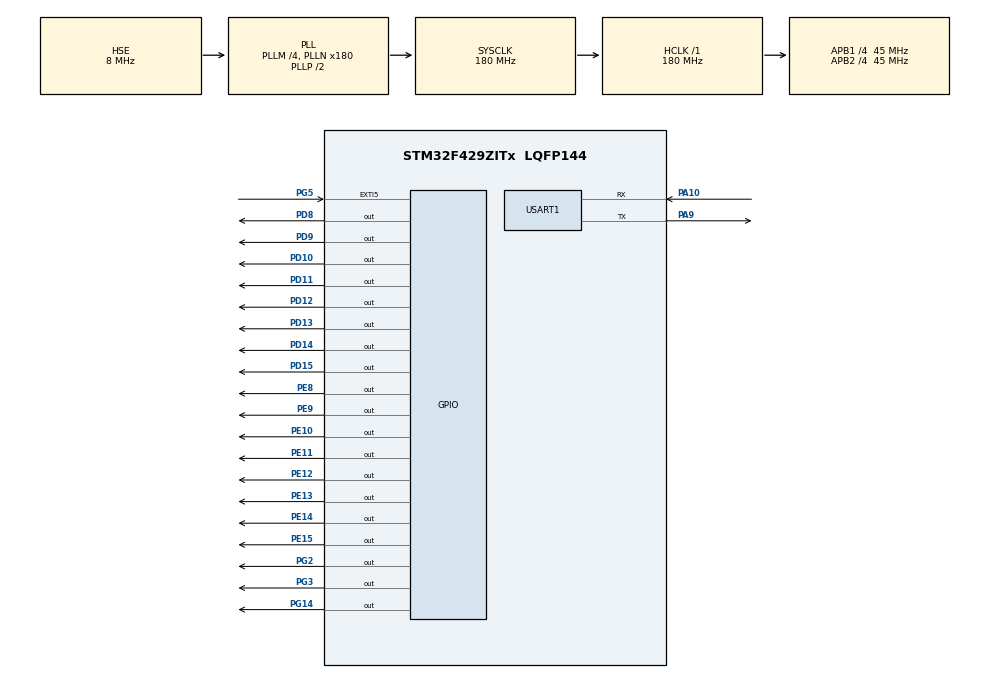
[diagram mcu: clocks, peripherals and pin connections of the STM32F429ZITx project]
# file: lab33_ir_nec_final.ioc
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Mcu.Family=STM32F4
Mcu.Name=STM32F429ZITx
Mcu.Package=LQFP144
NVIC.EXTI9_5_IRQn=true\:0\:0\:false\:false\:true\:true\:true\:true
NVIC.PriorityGroup=NVIC_PRIORITYGROUP_4
PA10.Mode=Asynchronous
PA10.Signal=USART1_RX
PA9.Mode=Asynchronous
PA9.Signal=USART1_TX
PD10.Signal=GPIO_Output
PD11.Signal=GPIO_Output
PD12.Signal=GPIO_Output
PD13.Signal=GPIO_Output
PD14.Signal=GPIO_Output
PD15.Signal=GPIO_Output
PD8.Signal=GPIO_Output
PD9.Signal=GPIO_Output
PE10.Signal=GPIO_Output
PE11.Signal=GPIO_Output
PE12.Signal=GPIO_Output
PE13.Signal=GPIO_Output
PE14.Signal=GPIO_Output
PE15.Signal=GPIO_Output
PE8.Signal=GPIO_Output
PE9.Signal=GPIO_Output
PG14.Signal=GPIO_Output
PG2.Signal=GPIO_Output
PG3.Signal=GPIO_Output
PG5.GPIO_ModeDefaultEXTI=GPIO_MODE_IT_FALLING
PG5.Signal=GPXTI5
PH0/OSC_IN.Mode=HSE-External-Oscillator
PH0/OSC_IN.Signal=RCC_OSC_IN
PH1/OSC_OUT.Mode=HSE-External-Oscillator
PH1/OSC_OUT.Signal=RCC_OSC_OUT
ProjectManager.HeapSize=0x200
ProjectManager.StackSize=0x400
ProjectManager.TargetToolchain=STM32CubeIDE
RCC.48MHZClocksFreq_Value=90000000
RCC.AHBFreq_Value=180000000
RCC.APB1CLKDivider=RCC_HCLK_DIV4
RCC.APB1Freq_Value=45000000
RCC.APB1TimFreq_Value=90000000
RCC.APB2CLKDivider=RCC_HCLK_DIV4
RCC.APB2Freq_Value=45000000
RCC.APB2TimFreq_Value=90000000
RCC.CortexFreq_Value=180000000
RCC.HCLKFreq_Value=180000000
RCC.HSE_VALUE=8000000
RCC.HSI_VALUE=16000000
RCC.LSE_VALUE=32768
RCC.PLLM=4
RCC.PLLN=180
RCC.PLLSourceVirtual=RCC_PLLSOURCE_HSE
RCC.SYSCLKFreq_VALUE=180000000
RCC.SYSCLKSource=RCC_SYSCLKSOURCE_PLLCLK
RCC.VCOOutputFreq_Value=360000000
TIM2.Prescaler=89
USART1.VirtualMode=VM_ASYNC
VP_TIM2_VS_ClockSourceINT.Mode=Internal
board=custom

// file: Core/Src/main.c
/* USER CODE BEGIN Header */
/**
  ******************************************************************************
  * @file           : main.c
  * @brief          : Main program body
  ******************************************************************************
  * @attention
  *
  * Copyright (c) 2026 STMicroelectronics.
  * All rights reserved.
  *
  * This software is licensed under terms that can be found in the LICENSE file
  * in the root directory of this software component.
  * If no LICENSE file comes with this software, it is provided AS-IS.
  *
  ******************************************************************************
  */
/* USER CODE END Header */
#include "main.h"

/* USER CODE BEGIN Includes */
#include "7seg.h"
#include "ledbar.h"
#include "ir_nec.h"
#include <stdio.h>
#include <string.h>
/* USER CODE END Includes */

/* USER CODE BEGIN PD */
/* Mã thật sẽ điền sau khi đọc từ Hercules */
#define IR_CMD_OK    0x1C
#define IR_CMD_1     0x45
#define IR_CMD_2     0x46
#define IR_CMD_3     0x47
#define IR_CMD_4     0x44
/* USER CODE END PD */

TIM_HandleTypeDef htim2;

UART_HandleTypeDef huart1;

/* USER CODE BEGIN PV */
uint32_t app_last_ledbar_tick = 0;
uint8_t app_last_command = 0x00;
/* USER CODE END PV */

void SystemClock_Config(void);
static void MX_GPIO_Init(void);
static void MX_TIM2_Init(void);
static void MX_USART1_UART_Init(void);
/* USER CODE BEGIN PFP */
void Debug_Print(const char *msg);
void ProcessIRFrame(void);
/* USER CODE END PFP */

/* USER CODE BEGIN 0 */
void Debug_Print(const char *msg)
{
  HAL_UART_Transmit(&huart1, (uint8_t *)msg, strlen(msg), 100);
}

void ProcessIRFrame(void)
{
  IR_NEC_Frame_t frame;
  char msg[64];

  frame = IR_NEC_GetFrame();

  if (!frame.ready)
  {
    return;
  }

  /* Hiển thị byte command lên 2 LED 7 thanh dưới dạng HEX */
  app_last_command = frame.command;
  Set7SegHexByte(app_last_command);

  /* Gửi debug ra Hercules */
  snprintf(msg, sizeof(msg),
           "RAW=%08lX ADDR=%02X CMD=%02X\r\n",
           frame.raw32,
           frame.address,
           frame.command);
  Debug_Print(msg);

  /* Xử lý chức năng theo nút */
  if (frame.command == IR_CMD_OK)
  {
    HAL_GPIO_TogglePin(GPIOG, GPIO_PIN_14);   // LED4
  }
  else if (frame.command == IR_CMD_1)
  {
    LEDBar_SetMode(LEDBAR_MODE_RUN_L);
  }
  else if (frame.command == IR_CMD_2)
  {
    LEDBar_SetMode(LEDBAR_MODE_RUN_R);
  }
  else if (frame.command == IR_CMD_3)
  {
    LEDBar_SetMode(LEDBAR_MODE_FLASH);
  }
  else if (frame.command == IR_CMD_4)
  {
    LEDBar_SetMode(LEDBAR_MODE_SPOT_BUMPER);
  }

  IR_NEC_ClearFrame();
}

/* USER CODE END 0 */

int main(void)
{

  /* MCU Configuration--------------------------------------------------------*/

  /* Reset of all peripherals, Initializes the Flash interface and the Systick. */
  HAL_Init();

  /* Configure the system clock */
  SystemClock_Config();

  /* Initialize all configured peripherals */
  MX_GPIO_Init();
  MX_TIM2_Init();
  MX_USART1_UART_Init();
  /* USER CODE BEGIN 2 */
  HAL_TIM_Base_Start(&htim2);

  IR_NEC_Init(&htim2);

  LEDBar_SetMode(LEDBAR_MODE_RUN_L);

  app_last_command = 0x00;
  Set7SegHexByte(app_last_command);

  Debug_Print("IR NEC demo start\r\n");
  /* USER CODE END 2 */

  /* Infinite loop */
  while (1)
  {

    /* USER CODE BEGIN 3 */
	Run7SegDisplay();

	if (HAL_GetTick() - app_last_ledbar_tick >= 200)
	{
	  app_last_ledbar_tick = HAL_GetTick();
	  LEDBar_RunStep();
	}

	ProcessIRFrame();
  }
  /* USER CODE END 3 */
}

void SystemClock_Config(void)
{
  RCC_OscInitTypeDef RCC_OscInitStruct = {0};
  RCC_ClkInitTypeDef RCC_ClkInitStruct = {0};

  /** Configure the main internal regulator output voltage
  */
  __HAL_RCC_PWR_CLK_ENABLE();
  __HAL_PWR_VOLTAGESCALING_CONFIG(PWR_REGULATOR_VOLTAGE_SCALE1);

  /** Initializes the RCC Oscillators according to the specified parameters
  * in the RCC_OscInitTypeDef structure.
  */
  RCC_OscInitStruct.OscillatorType = RCC_OSCILLATORTYPE_HSE;
  RCC_OscInitStruct.HSEState = RCC_HSE_ON;
  RCC_OscInitStruct.PLL.PLLState = RCC_PLL_ON;
  RCC_OscInitStruct.PLL.PLLSource = RCC_PLLSOURCE_HSE;
  RCC_OscInitStruct.PLL.PLLM = 4;
  RCC_OscInitStruct.PLL.PLLN = 180;
  RCC_OscInitStruct.PLL.PLLP = RCC_PLLP_DIV2;
  RCC_OscInitStruct.PLL.PLLQ = 4;
  if (HAL_RCC_OscConfig(&RCC_OscInitStruct) != HAL_OK)
  {
    Error_Handler();
  }

  /** Activate the Over-Drive mode
  */
  if (HAL_PWREx_EnableOverDrive() != HAL_OK)
  {
    Error_Handler();
  }

  /** Initializes the CPU, AHB and APB buses clocks
  */
  RCC_ClkInitStruct.ClockType = RCC_CLOCKTYPE_HCLK|RCC_CLOCKTYPE_SYSCLK
                              |RCC_CLOCKTYPE_PCLK1|RCC_CLOCKTYPE_PCLK2;
  RCC_ClkInitStruct.SYSCLKSource = RCC_SYSCLKSOURCE_PLLCLK;
  RCC_ClkInitStruct.AHBCLKDivider = RCC_SYSCLK_DIV1;
  RCC_ClkInitStruct.APB1CLKDivider = RCC_HCLK_DIV4;
  RCC_ClkInitStruct.APB2CLKDivider = RCC_HCLK_DIV4;

  if (HAL_RCC_ClockConfig(&RCC_ClkInitStruct, FLASH_LATENCY_5) != HAL_OK)
  {
    Error_Handler();
  }
}

static void MX_TIM2_Init(void)
{

  TIM_ClockConfigTypeDef sClockSourceConfig = {0};
  TIM_MasterConfigTypeDef sMasterConfig = {0};

  htim2.Instance = TIM2;
  htim2.Init.Prescaler = 89;
  htim2.Init.CounterMode = TIM_COUNTERMODE_UP;
  htim2.Init.Period = 4294967295;
  htim2.Init.ClockDivision = TIM_CLOCKDIVISION_DIV1;
  htim2.Init.AutoReloadPreload = TIM_AUTORELOAD_PRELOAD_DISABLE;
  if (HAL_TIM_Base_Init(&htim2) != HAL_OK)
  {
    Error_Handler();
  }
  sClockSourceConfig.ClockSource = TIM_CLOCKSOURCE_INTERNAL;
  if (HAL_TIM_ConfigClockSource(&htim2, &sClockSourceConfig) != HAL_OK)
  {
    Error_Handler();
  }
  sMasterConfig.MasterOutputTrigger = TIM_TRGO_RESET;
  sMasterConfig.MasterSlaveMode = TIM_MASTERSLAVEMODE_DISABLE;
  if (HAL_TIMEx_MasterConfigSynchronization(&htim2, &sMasterConfig) != HAL_OK)
  {
    Error_Handler();
  }

}

static void MX_USART1_UART_Init(void)
{

  huart1.Instance = USART1;
  huart1.Init.BaudRate = 115200;
  huart1.Init.WordLength = UART_WORDLENGTH_8B;
  huart1.Init.StopBits = UART_STOPBITS_1;
  huart1.Init.Parity = UART_PARITY_NONE;
  huart1.Init.Mode = UART_MODE_TX_RX;
  huart1.Init.HwFlowCtl = UART_HWCONTROL_NONE;
  huart1.Init.OverSampling = UART_OVERSAMPLING_16;
  if (HAL_UART_Init(&huart1) != HAL_OK)
  {
    Error_Handler();
  }

}

static void MX_GPIO_Init(void)
{
  GPIO_InitTypeDef GPIO_InitStruct = {0};

  /* GPIO Ports Clock Enable */
  __HAL_RCC_GPIOH_CLK_ENABLE();
  __HAL_RCC_GPIOE_CLK_ENABLE();
  __HAL_RCC_GPIOD_CLK_ENABLE();
  __HAL_RCC_GPIOG_CLK_ENABLE();
  __HAL_RCC_GPIOA_CLK_ENABLE();

  /*Configure GPIO pin Output Level */
  HAL_GPIO_WritePin(GPIOE, GPIO_PIN_8|GPIO_PIN_9|GPIO_PIN_10|GPIO_PIN_11
                          |GPIO_PIN_12|GPIO_PIN_13|GPIO_PIN_14|GPIO_PIN_15, GPIO_PIN_RESET);

  /*Configure GPIO pin Output Level */
  HAL_GPIO_WritePin(GPIOD, GPIO_PIN_8|GPIO_PIN_9|GPIO_PIN_10|GPIO_PIN_11
                          |GPIO_PIN_12|GPIO_PIN_13|GPIO_PIN_14|GPIO_PIN_15, GPIO_PIN_RESET);

  /*Configure GPIO pin Output Level */
  HAL_GPIO_WritePin(GPIOG, GPIO_PIN_2|GPIO_PIN_3|GPIO_PIN_14, GPIO_PIN_RESET);

  /*Configure GPIO pins : PE8 PE9 PE10 PE11
                           PE12 PE13 PE14 PE15 */
  GPIO_InitStruct.Pin = GPIO_PIN_8|GPIO_PIN_9|GPIO_PIN_10|GPIO_PIN_11
                          |GPIO_PIN_12|GPIO_PIN_13|GPIO_PIN_14|GPIO_PIN_15;
  GPIO_InitStruct.Mode = GPIO_MODE_OUTPUT_PP;
  GPIO_InitStruct.Pull = GPIO_NOPULL;
  GPIO_InitStruct.Speed = GPIO_SPEED_FREQ_LOW;
  HAL_GPIO_Init(GPIOE, &GPIO_InitStruct);

  /*Configure GPIO pins : PD8 PD9 PD10 PD11
                           PD12 PD13 PD14 PD15 */
  GPIO_InitStruct.Pin = GPIO_PIN_8|GPIO_PIN_9|GPIO_PIN_10|GPIO_PIN_11
                          |GPIO_PIN_12|GPIO_PIN_13|GPIO_PIN_14|GPIO_PIN_15;
  GPIO_InitStruct.Mode = GPIO_MODE_OUTPUT_PP;
  GPIO_InitStruct.Pull = GPIO_NOPULL;
  GPIO_InitStruct.Speed = GPIO_SPEED_FREQ_LOW;
  HAL_GPIO_Init(GPIOD, &GPIO_InitStruct);

  /*Configure GPIO pins : PG2 PG3 PG14 */
  GPIO_InitStruct.Pin = GPIO_PIN_2|GPIO_PIN_3|GPIO_PIN_14;
  GPIO_InitStruct.Mode = GPIO_MODE_OUTPUT_PP;
  GPIO_InitStruct.Pull = GPIO_NOPULL;
  GPIO_InitStruct.Speed = GPIO_SPEED_FREQ_LOW;
  HAL_GPIO_Init(GPIOG, &GPIO_InitStruct);

  /*Configure GPIO pin : PG5 */
  GPIO_InitStruct.Pin = GPIO_PIN_5;
  GPIO_InitStruct.Mode = GPIO_MODE_IT_FALLING;
  GPIO_InitStruct.Pull = GPIO_NOPULL;
  HAL_GPIO_Init(GPIOG, &GPIO_InitStruct);

  /* EXTI interrupt init*/
  HAL_NVIC_SetPriority(EXTI9_5_IRQn, 0, 0);
  HAL_NVIC_EnableIRQ(EXTI9_5_IRQn);

}

void Error_Handler(void)
{
  __disable_irq();
  while (1)
  {
  }
}
